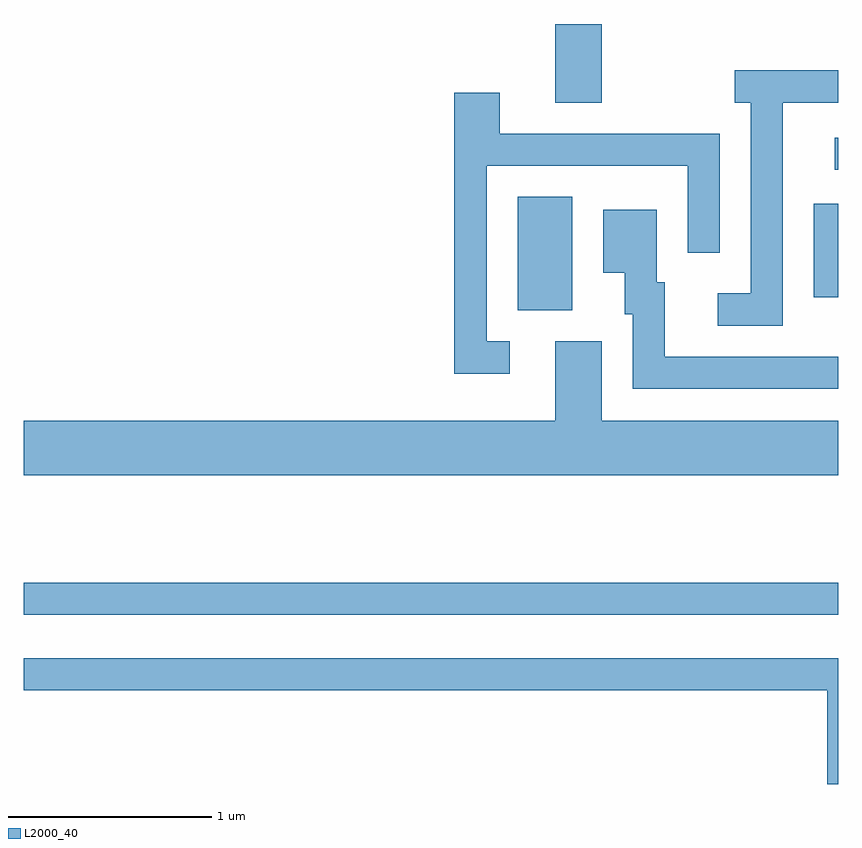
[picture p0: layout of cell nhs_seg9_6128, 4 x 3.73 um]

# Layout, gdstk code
import gdstk
lib = gdstk.Library(unit=1e-6, precision=1e-09)
def R(c, l, rs):  # rectangles x0, y0, x1, y1
    for r in rs: c.add(gdstk.rectangle(r[:2], r[2:], *l))
def P(c, l, *ps):  # polygons
    for p in ps: c.add(gdstk.Polygon(p, *l))
L2000_40 = (2000, 40)

nhs_seg9_6128 = lib.new_cell('nhs_seg9_6128')
R(nhs_seg9_6128, L2000_40, [(365.611,2035.531,369.611,2035.689), (368.036,2037.026,368.304,2037.584), (369.491,2037.091,369.611,2037.549), (369.593,2037.716,369.611,2037.874), (368.221,2038.046,368.449,2038.432)])
P(nhs_seg9_6128, L2000_40, [(369.339,2038.046),(369.611,2038.046),(369.611,2038.204),(369.103,2038.204),(369.103,2038.046),(369.181,2038.046),(369.181,2037.109),(369.018,2037.109),(369.018,2036.951),(369.339,2036.951)],
  [(367.998,2036.874),(367.884,2036.874),(367.884,2037.736),(368.871,2037.736),(368.871,2037.308),(369.029,2037.308),(369.029,2037.894),(367.949,2037.894),(367.949,2038.094),(367.726,2038.094),(367.726,2036.716),(367.998,2036.716)],
  [(369.611,2036.799),(368.759,2036.799),(368.759,2037.164),(368.719,2037.164),(368.719,2037.519),(368.456,2037.519),(368.456,2037.211),(368.561,2037.211),(368.561,2037.006),(368.601,2037.006),(368.601,2036.641),(369.611,2036.641)],
  [(369.611,2036.484),(368.449,2036.484),(368.449,2036.874),(368.221,2036.874),(368.221,2036.484),(365.611,2036.484),(365.611,2036.216),(369.611,2036.216)],
  [(369.611,2035.319),(365.611,2035.319),(365.611,2035.161),(369.556,2035.161),(369.556,2034.701),(369.611,2034.701)])

lib.write_gds('nhs_seg9_6128.gds')
